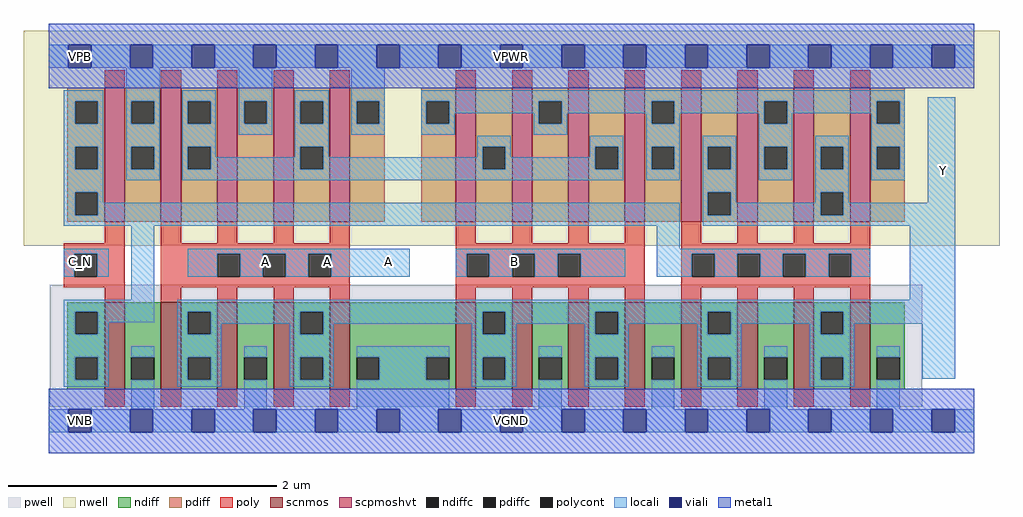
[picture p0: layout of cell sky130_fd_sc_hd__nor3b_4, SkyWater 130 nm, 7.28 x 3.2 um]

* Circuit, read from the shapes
.subckt sky130_fd_sc_hd__nor3b_4 A B C_N VGND VNB VPB VPWR Y
XM1 VGND C_N n1 VNB sky130_fd_pr__nfet_01v8 w=0.65 l=0.15
XM2 Y A VGND VNB sky130_fd_pr__nfet_01v8 w=0.65 l=0.15 m=4
XM3 Y B VGND VNB sky130_fd_pr__nfet_01v8 w=0.65 l=0.15 m=4
XM4 Y n1 VGND VNB sky130_fd_pr__nfet_01v8 w=0.65 l=0.15 m=4
XM5 VPWR C_N n1 VPB sky130_fd_pr__pfet_01v8_hvt w=1 l=0.15
XM6 n2 A VPWR VPB sky130_fd_pr__pfet_01v8_hvt w=1 l=0.15 m=4
XM7 n2 B n3 VPB sky130_fd_pr__pfet_01v8_hvt w=1 l=0.15 m=4
XM8 Y n1 n3 VPB sky130_fd_pr__pfet_01v8_hvt w=1 l=0.15 m=4
.ends

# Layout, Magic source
magic
tech sky130B
magscale 1 2
<< nwell >>
rect -38 261 1418 582
<< pwell >>
rect 1 21 1303 203
rect 30 -17 64 21
<< scnmos >>
rect 83 47 113 177
rect 167 47 197 177
rect 251 47 281 177
rect 335 47 365 177
rect 419 47 449 177
rect 607 47 637 177
rect 691 47 721 177
rect 775 47 805 177
rect 859 47 889 177
rect 943 47 973 177
rect 1027 47 1057 177
rect 1111 47 1141 177
rect 1195 47 1225 177
<< scpmoshvt >>
rect 83 297 113 497
rect 167 297 197 497
rect 251 297 281 497
rect 335 297 365 497
rect 419 297 449 497
rect 607 297 637 497
rect 691 297 721 497
rect 775 297 805 497
rect 859 297 889 497
rect 943 297 973 497
rect 1027 297 1057 497
rect 1111 297 1141 497
rect 1195 297 1225 497
<< ndiff >>
rect 27 163 83 177
rect 27 129 39 163
rect 73 129 83 163
rect 27 95 83 129
rect 27 61 39 95
rect 73 61 83 95
rect 27 47 83 61
rect 113 95 167 177
rect 113 61 123 95
rect 157 61 167 95
rect 113 47 167 61
rect 197 163 251 177
rect 197 129 207 163
rect 241 129 251 163
rect 197 95 251 129
rect 197 61 207 95
rect 241 61 251 95
rect 197 47 251 61
rect 281 95 335 177
rect 281 61 291 95
rect 325 61 335 95
rect 281 47 335 61
rect 365 163 419 177
rect 365 129 375 163
rect 409 129 419 163
rect 365 95 419 129
rect 365 61 375 95
rect 409 61 419 95
rect 365 47 419 61
rect 449 95 607 177
rect 449 61 459 95
rect 493 61 563 95
rect 597 61 607 95
rect 449 47 607 61
rect 637 163 691 177
rect 637 129 647 163
rect 681 129 691 163
rect 637 95 691 129
rect 637 61 647 95
rect 681 61 691 95
rect 637 47 691 61
rect 721 95 775 177
rect 721 61 731 95
rect 765 61 775 95
rect 721 47 775 61
rect 805 163 859 177
rect 805 129 815 163
rect 849 129 859 163
rect 805 95 859 129
rect 805 61 815 95
rect 849 61 859 95
rect 805 47 859 61
rect 889 95 943 177
rect 889 61 899 95
rect 933 61 943 95
rect 889 47 943 61
rect 973 163 1027 177
rect 973 129 983 163
rect 1017 129 1027 163
rect 973 95 1027 129
rect 973 61 983 95
rect 1017 61 1027 95
rect 973 47 1027 61
rect 1057 95 1111 177
rect 1057 61 1067 95
rect 1101 61 1111 95
rect 1057 47 1111 61
rect 1141 163 1195 177
rect 1141 129 1151 163
rect 1185 129 1195 163
rect 1141 95 1195 129
rect 1141 61 1151 95
rect 1185 61 1195 95
rect 1141 47 1195 61
rect 1225 95 1277 177
rect 1225 61 1235 95
rect 1269 61 1277 95
rect 1225 47 1277 61
<< pdiff >>
rect 27 477 83 497
rect 27 443 39 477
rect 73 443 83 477
rect 27 409 83 443
rect 27 375 39 409
rect 73 375 83 409
rect 27 341 83 375
rect 27 307 39 341
rect 73 307 83 341
rect 27 297 83 307
rect 113 477 167 497
rect 113 443 123 477
rect 157 443 167 477
rect 113 409 167 443
rect 113 375 123 409
rect 157 375 167 409
rect 113 297 167 375
rect 197 477 251 497
rect 197 443 207 477
rect 241 443 251 477
rect 197 409 251 443
rect 197 375 207 409
rect 241 375 251 409
rect 197 297 251 375
rect 281 477 335 497
rect 281 443 291 477
rect 325 443 335 477
rect 281 297 335 443
rect 365 477 419 497
rect 365 443 375 477
rect 409 443 419 477
rect 365 409 419 443
rect 365 375 375 409
rect 409 375 419 409
rect 365 297 419 375
rect 449 477 501 497
rect 449 443 459 477
rect 493 443 501 477
rect 449 297 501 443
rect 555 477 607 497
rect 555 443 563 477
rect 597 443 607 477
rect 555 297 607 443
rect 637 409 691 497
rect 637 375 647 409
rect 681 375 691 409
rect 637 297 691 375
rect 721 477 775 497
rect 721 443 731 477
rect 765 443 775 477
rect 721 297 775 443
rect 805 409 859 497
rect 805 375 815 409
rect 849 375 859 409
rect 805 297 859 375
rect 889 477 943 497
rect 889 443 899 477
rect 933 443 943 477
rect 889 409 943 443
rect 889 375 899 409
rect 933 375 943 409
rect 889 297 943 375
rect 973 409 1027 497
rect 973 375 983 409
rect 1017 375 1027 409
rect 973 341 1027 375
rect 973 307 983 341
rect 1017 307 1027 341
rect 973 297 1027 307
rect 1057 477 1111 497
rect 1057 443 1067 477
rect 1101 443 1111 477
rect 1057 409 1111 443
rect 1057 375 1067 409
rect 1101 375 1111 409
rect 1057 297 1111 375
rect 1141 409 1195 497
rect 1141 375 1151 409
rect 1185 375 1195 409
rect 1141 341 1195 375
rect 1141 307 1151 341
rect 1185 307 1195 341
rect 1141 297 1195 307
rect 1225 477 1277 497
rect 1225 443 1235 477
rect 1269 443 1277 477
rect 1225 409 1277 443
rect 1225 375 1235 409
rect 1269 375 1277 409
rect 1225 297 1277 375
<< ndiffc >>
rect 39 129 73 163
rect 39 61 73 95
rect 123 61 157 95
rect 207 129 241 163
rect 207 61 241 95
rect 291 61 325 95
rect 375 129 409 163
rect 375 61 409 95
rect 459 61 493 95
rect 563 61 597 95
rect 647 129 681 163
rect 647 61 681 95
rect 731 61 765 95
rect 815 129 849 163
rect 815 61 849 95
rect 899 61 933 95
rect 983 129 1017 163
rect 983 61 1017 95
rect 1067 61 1101 95
rect 1151 129 1185 163
rect 1151 61 1185 95
rect 1235 61 1269 95
<< pdiffc >>
rect 39 443 73 477
rect 39 375 73 409
rect 39 307 73 341
rect 123 443 157 477
rect 123 375 157 409
rect 207 443 241 477
rect 207 375 241 409
rect 291 443 325 477
rect 375 443 409 477
rect 375 375 409 409
rect 459 443 493 477
rect 563 443 597 477
rect 647 375 681 409
rect 731 443 765 477
rect 815 375 849 409
rect 899 443 933 477
rect 899 375 933 409
rect 983 375 1017 409
rect 983 307 1017 341
rect 1067 443 1101 477
rect 1067 375 1101 409
rect 1151 375 1185 409
rect 1151 307 1185 341
rect 1235 443 1269 477
rect 1235 375 1269 409
<< poly >>
rect 83 497 113 523
rect 167 497 197 523
rect 251 497 281 523
rect 335 497 365 523
rect 419 497 449 523
rect 607 497 637 523
rect 691 497 721 523
rect 775 497 805 523
rect 859 497 889 523
rect 943 497 973 523
rect 1027 497 1057 523
rect 1111 497 1141 523
rect 1195 497 1225 523
rect 83 265 113 297
rect 22 249 113 265
rect 22 215 38 249
rect 72 215 113 249
rect 22 199 113 215
rect 83 177 113 199
rect 167 265 197 297
rect 251 265 281 297
rect 335 265 365 297
rect 419 265 449 297
rect 167 249 449 265
rect 167 215 251 249
rect 285 215 319 249
rect 353 215 387 249
rect 421 215 449 249
rect 167 199 449 215
rect 167 177 197 199
rect 251 177 281 199
rect 335 177 365 199
rect 419 177 449 199
rect 607 265 637 297
rect 691 265 721 297
rect 775 265 805 297
rect 859 265 889 297
rect 607 249 889 265
rect 607 215 623 249
rect 657 215 691 249
rect 725 215 759 249
rect 793 215 889 249
rect 607 199 889 215
rect 607 177 637 199
rect 691 177 721 199
rect 775 177 805 199
rect 859 177 889 199
rect 943 265 973 297
rect 1027 265 1057 297
rect 1111 265 1141 297
rect 1195 265 1225 297
rect 943 249 1225 265
rect 943 215 959 249
rect 993 215 1027 249
rect 1061 215 1095 249
rect 1129 215 1163 249
rect 1197 215 1225 249
rect 943 199 1225 215
rect 943 177 973 199
rect 1027 177 1057 199
rect 1111 177 1141 199
rect 1195 177 1225 199
rect 83 21 113 47
rect 167 21 197 47
rect 251 21 281 47
rect 335 21 365 47
rect 419 21 449 47
rect 607 21 637 47
rect 691 21 721 47
rect 775 21 805 47
rect 859 21 889 47
rect 943 21 973 47
rect 1027 21 1057 47
rect 1111 21 1141 47
rect 1195 21 1225 47
<< polycont >>
rect 38 215 72 249
rect 251 215 285 249
rect 319 215 353 249
rect 387 215 421 249
rect 623 215 657 249
rect 691 215 725 249
rect 759 215 793 249
rect 959 215 993 249
rect 1027 215 1061 249
rect 1095 215 1129 249
rect 1163 215 1197 249
<< locali >>
rect 0 527 29 561
rect 63 527 121 561
rect 155 527 213 561
rect 247 527 305 561
rect 339 527 397 561
rect 431 527 489 561
rect 523 527 581 561
rect 615 527 673 561
rect 707 527 765 561
rect 799 527 857 561
rect 891 527 949 561
rect 983 527 1041 561
rect 1075 527 1133 561
rect 1167 527 1225 561
rect 1259 527 1317 561
rect 1351 527 1380 561
rect 22 477 81 493
rect 22 443 39 477
rect 73 443 81 477
rect 22 409 81 443
rect 22 375 39 409
rect 73 375 81 409
rect 22 341 81 375
rect 115 477 165 527
rect 115 443 123 477
rect 157 443 165 477
rect 115 409 165 443
rect 115 375 123 409
rect 157 375 165 409
rect 115 359 165 375
rect 199 477 249 493
rect 199 443 207 477
rect 241 443 249 477
rect 199 409 249 443
rect 283 477 333 527
rect 283 443 291 477
rect 325 443 333 477
rect 283 427 333 443
rect 367 477 417 493
rect 367 443 375 477
rect 409 443 417 477
rect 199 375 207 409
rect 241 393 249 409
rect 367 409 417 443
rect 451 477 501 527
rect 451 443 459 477
rect 493 443 501 477
rect 451 427 501 443
rect 555 477 1277 493
rect 555 443 563 477
rect 597 459 731 477
rect 597 443 605 459
rect 555 427 605 443
rect 723 443 731 459
rect 765 459 899 477
rect 765 443 773 459
rect 723 427 773 443
rect 891 443 899 459
rect 933 459 1067 477
rect 933 443 941 459
rect 367 393 375 409
rect 241 375 375 393
rect 409 393 417 409
rect 639 409 689 425
rect 639 393 647 409
rect 409 375 647 393
rect 681 393 689 409
rect 807 409 857 425
rect 807 393 815 409
rect 681 375 815 393
rect 849 375 857 409
rect 199 359 857 375
rect 891 409 941 443
rect 1059 443 1067 459
rect 1101 459 1235 477
rect 1101 443 1109 459
rect 891 375 899 409
rect 933 375 941 409
rect 891 359 941 375
rect 975 409 1025 425
rect 975 375 983 409
rect 1017 375 1025 409
rect 22 307 39 341
rect 73 325 81 341
rect 975 341 1025 375
rect 1059 409 1109 443
rect 1227 443 1235 459
rect 1269 443 1277 477
rect 1059 375 1067 409
rect 1101 375 1109 409
rect 1059 359 1109 375
rect 1143 409 1193 425
rect 1143 375 1151 409
rect 1185 375 1193 409
rect 73 307 941 325
rect 22 291 941 307
rect 975 307 983 341
rect 1017 325 1025 341
rect 1143 341 1193 375
rect 1227 409 1277 443
rect 1227 375 1235 409
rect 1269 375 1277 409
rect 1227 359 1277 375
rect 1143 325 1151 341
rect 1017 307 1151 325
rect 1185 325 1193 341
rect 1311 325 1352 483
rect 1185 307 1352 325
rect 975 291 1352 307
rect 22 249 89 257
rect 22 215 38 249
rect 72 215 89 249
rect 123 181 157 291
rect 907 257 941 291
rect 207 249 538 257
rect 207 215 251 249
rect 285 215 319 249
rect 353 215 387 249
rect 421 215 538 249
rect 607 249 860 257
rect 607 215 623 249
rect 657 215 691 249
rect 725 215 759 249
rect 793 215 860 249
rect 907 249 1225 257
rect 907 215 959 249
rect 993 215 1027 249
rect 1061 215 1095 249
rect 1129 215 1163 249
rect 1197 215 1225 249
rect 1284 181 1352 291
rect 22 163 157 181
rect 22 129 39 163
rect 73 147 157 163
rect 191 163 1352 181
rect 73 129 89 147
rect 22 95 89 129
rect 191 129 207 163
rect 241 145 375 163
rect 241 129 257 145
rect 22 61 39 95
rect 73 61 89 95
rect 22 51 89 61
rect 123 95 157 111
rect 123 17 157 61
rect 191 95 257 129
rect 359 129 375 145
rect 409 145 647 163
rect 409 129 425 145
rect 191 61 207 95
rect 241 61 257 95
rect 191 51 257 61
rect 291 95 325 111
rect 291 17 325 61
rect 359 95 425 129
rect 631 129 647 145
rect 681 145 815 163
rect 681 129 697 145
rect 359 61 375 95
rect 409 61 425 95
rect 359 51 425 61
rect 459 95 597 111
rect 493 61 563 95
rect 459 17 597 61
rect 631 95 697 129
rect 799 129 815 145
rect 849 145 983 163
rect 849 129 865 145
rect 631 61 647 95
rect 681 61 697 95
rect 631 51 697 61
rect 731 95 765 111
rect 731 17 765 61
rect 799 95 865 129
rect 967 129 983 145
rect 1017 145 1151 163
rect 1017 129 1033 145
rect 799 61 815 95
rect 849 61 865 95
rect 799 51 865 61
rect 899 95 933 111
rect 899 17 933 61
rect 967 95 1033 129
rect 1135 129 1151 145
rect 1185 145 1352 163
rect 1185 129 1201 145
rect 967 61 983 95
rect 1017 61 1033 95
rect 967 51 1033 61
rect 1067 95 1101 111
rect 1067 17 1101 61
rect 1135 95 1201 129
rect 1135 61 1151 95
rect 1185 61 1201 95
rect 1135 51 1201 61
rect 1235 95 1269 111
rect 1303 63 1352 145
rect 1235 17 1269 61
rect 0 -17 29 17
rect 63 -17 121 17
rect 155 -17 213 17
rect 247 -17 305 17
rect 339 -17 397 17
rect 431 -17 489 17
rect 523 -17 581 17
rect 615 -17 673 17
rect 707 -17 765 17
rect 799 -17 857 17
rect 891 -17 949 17
rect 983 -17 1041 17
rect 1075 -17 1133 17
rect 1167 -17 1225 17
rect 1259 -17 1317 17
rect 1351 -17 1380 17
<< viali >>
rect 29 527 63 561
rect 121 527 155 561
rect 213 527 247 561
rect 305 527 339 561
rect 397 527 431 561
rect 489 527 523 561
rect 581 527 615 561
rect 673 527 707 561
rect 765 527 799 561
rect 857 527 891 561
rect 949 527 983 561
rect 1041 527 1075 561
rect 1133 527 1167 561
rect 1225 527 1259 561
rect 1317 527 1351 561
rect 29 -17 63 17
rect 121 -17 155 17
rect 213 -17 247 17
rect 305 -17 339 17
rect 397 -17 431 17
rect 489 -17 523 17
rect 581 -17 615 17
rect 673 -17 707 17
rect 765 -17 799 17
rect 857 -17 891 17
rect 949 -17 983 17
rect 1041 -17 1075 17
rect 1133 -17 1167 17
rect 1225 -17 1259 17
rect 1317 -17 1351 17
<< metal1 >>
rect 0 561 1380 592
rect 0 527 29 561
rect 63 527 121 561
rect 155 527 213 561
rect 247 527 305 561
rect 339 527 397 561
rect 431 527 489 561
rect 523 527 581 561
rect 615 527 673 561
rect 707 527 765 561
rect 799 527 857 561
rect 891 527 949 561
rect 983 527 1041 561
rect 1075 527 1133 561
rect 1167 527 1225 561
rect 1259 527 1317 561
rect 1351 527 1380 561
rect 0 496 1380 527
rect 0 17 1380 48
rect 0 -17 29 17
rect 63 -17 121 17
rect 155 -17 213 17
rect 247 -17 305 17
rect 339 -17 397 17
rect 431 -17 489 17
rect 523 -17 581 17
rect 615 -17 673 17
rect 707 -17 765 17
rect 799 -17 857 17
rect 891 -17 949 17
rect 983 -17 1041 17
rect 1075 -17 1133 17
rect 1167 -17 1225 17
rect 1259 -17 1317 17
rect 1351 -17 1380 17
rect 0 -48 1380 -17
<< labels >>
flabel locali s 398 221 432 255 0 FreeSans 400 0 0 0 A
port 1 nsew signal input
flabel locali s 490 221 524 255 0 FreeSans 400 0 0 0 A
port 1 nsew signal input
flabel locali s 306 221 340 255 0 FreeSans 400 0 0 0 A
port 1 nsew signal input
flabel locali s 30 221 64 255 0 FreeSans 400 0 0 0 C_N
port 3 nsew signal input
flabel locali s 678 221 712 255 0 FreeSans 400 0 0 0 B
port 2 nsew signal input
flabel locali s 1317 357 1351 391 0 FreeSans 400 0 0 0 Y
port 8 nsew signal output
flabel nwell s 30 527 64 561 0 FreeSans 200 0 0 0 VPB
port 6 nsew power bidirectional
flabel pwell s 30 -17 64 17 0 FreeSans 200 0 0 0 VNB
port 5 nsew ground bidirectional
flabel metal1 s 30 -17 64 17 0 FreeSans 200 0 0 0 VGND
port 4 nsew ground bidirectional abutment
flabel metal1 s 30 527 64 561 0 FreeSans 200 0 0 0 VPWR
port 7 nsew power bidirectional abutment
rlabel comment s 0 0 0 0 4 nor3b_4
rlabel metal1 s 0 -48 1380 48 1 VGND
port 4 nsew ground bidirectional abutment
rlabel metal1 s 0 496 1380 592 1 VPWR
port 7 nsew power bidirectional abutment
<< properties >>
string FIXED_BBOX 0 0 1380 544
string GDS_END 1123316
string GDS_FILE $PDKPATH/libs.ref/sky130_fd_sc_hd/gds/sky130_fd_sc_hd.gds
string GDS_START 1113216
string LEFclass CORE
string LEFsite unithd
string LEFsymmetry X Y R90
string path 0.000 0.000 6.900 0.000 
<< end >>
